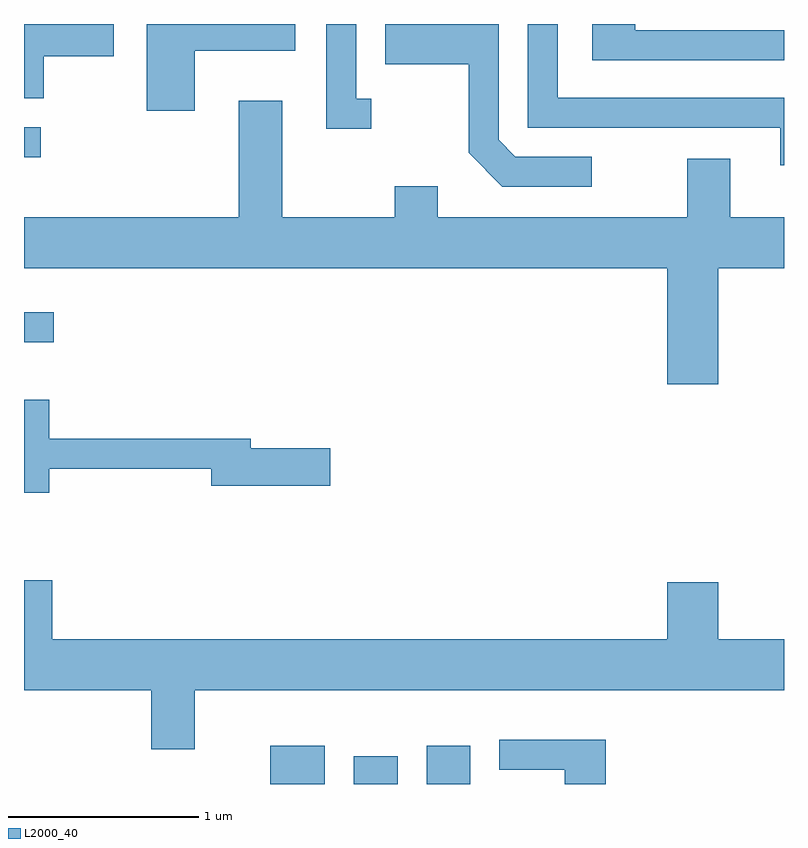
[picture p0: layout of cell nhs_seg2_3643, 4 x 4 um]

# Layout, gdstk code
import gdstk
lib = gdstk.Library(unit=1e-6, precision=1e-09)
def R(c, l, rs):  # rectangles x0, y0, x1, y1
    for r in rs: c.add(gdstk.rectangle(r[:2], r[2:], *l))
def P(c, l, *ps):  # polygons
    for p in ps: c.add(gdstk.Polygon(p, *l))
L2000_40 = (2000, 40)

nhs_seg2_3643 = lib.new_cell('nhs_seg2_3643')
R(nhs_seg2_3643, L2000_40, [(292.906,1067.802,293.194,1068.004), (293.346,1067.802,293.579,1067.949), (293.731,1067.802,293.959,1068.004), (291.611,1070.126,291.768,1070.284), (291.611,1071.101,291.698,1071.259)])
P(nhs_seg2_3643, L2000_40, [(295.611,1071.769),(294.829,1071.769),(294.829,1071.802),(294.601,1071.802),(294.601,1071.611),(295.611,1071.611)],
  [(295.611,1071.414),(294.419,1071.414),(294.419,1071.802),(294.261,1071.802),(294.261,1071.256),(295.591,1071.256),(295.591,1071.058),(295.611,1071.058)],
  [(293.438,1071.409),(293.359,1071.409),(293.359,1071.802),(293.201,1071.802),(293.201,1071.251),(293.438,1071.251)],
  [(294.598,1071.104),(294.197,1071.104),(294.109,1071.192),(294.109,1071.802),(293.511,1071.802),(293.511,1071.591),(293.951,1071.591),(293.951,1071.124),(294.129,1070.946),(294.598,1070.946)],
  [(292.509,1071.661),(293.039,1071.661),(293.039,1071.802),(292.256,1071.802),(292.256,1071.346),(292.509,1071.346)],
  [(291.714,1071.631),(292.084,1071.631),(292.084,1071.802),(291.611,1071.802),(291.611,1071.411),(291.714,1071.411)],
  [(295.101,1070.784),(293.789,1070.784),(293.789,1070.949),(293.561,1070.949),(293.561,1070.784),(292.969,1070.784),(292.969,1071.399),(292.741,1071.399),(292.741,1070.784),(291.611,1070.784),(291.611,1070.516),(294.996,1070.516),(294.996,1069.906),(295.264,1069.906),(295.264,1070.516),(295.611,1070.516),(295.611,1070.784),(295.329,1070.784),(295.329,1071.094),(295.101,1071.094)],
  [(291.744,1069.461),(292.596,1069.461),(292.596,1069.371),(293.224,1069.371),(293.224,1069.569),(292.804,1069.569),(292.804,1069.619),(291.744,1069.619),(291.744,1069.824),(291.611,1069.824),(291.611,1069.336),(291.744,1069.336)],
  [(292.509,1068.296),(295.611,1068.296),(295.611,1068.564),(295.264,1068.564),(295.264,1068.864),(294.996,1068.864),(294.996,1068.564),(291.759,1068.564),(291.759,1068.874),(291.611,1068.874),(291.611,1068.296),(292.281,1068.296),(292.281,1067.986),(292.509,1067.986)],
  [(294.674,1068.034),(294.113,1068.034),(294.113,1067.876),(294.456,1067.876),(294.456,1067.802),(294.674,1067.802)])

lib.write_gds('nhs_seg2_3643.gds')
